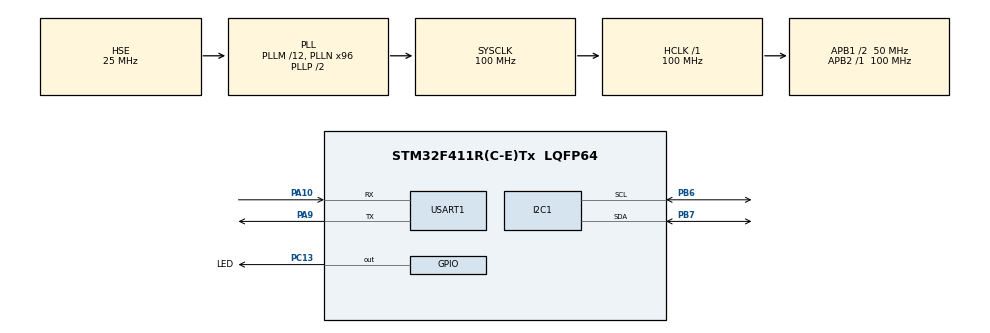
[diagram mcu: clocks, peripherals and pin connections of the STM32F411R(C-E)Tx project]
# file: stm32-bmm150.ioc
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Mcu.Family=STM32F4
RCC.PLLSourceVirtual=RCC_PLLSOURCE_HSE
TIM10.Prescaler=99
RCC.CortexFreq_Value=100000000
PA10.Mode=Asynchronous
PC13-ANTI_TAMP.GPIO_Label=LED
PH1\ -\ OSC_OUT.Mode=HSE-External-Oscillator
TIM11.Prescaler=99
RCC.APB1CLKDivider=RCC_HCLK_DIV2
VP_TIM10_VS_no_output1.Mode=Output Compare1 No Output
RCC.SYSCLKSource=RCC_SYSCLKSOURCE_PLLCLK
ProjectManager.StackSize=0x500
VP_TIM11_VS_ClockSourceINT.Mode=Enable_Timer
PA9.Mode=Asynchronous
PH0\ -\ OSC_IN.Mode=HSE-External-Oscillator
PH0\ -\ OSC_IN.Signal=RCC_OSC_IN
ProjectManager.TargetToolchain=SW4STM32
RCC.HCLKFreq_Value=100000000
RCC.APB2TimFreq_Value=100000000
PA9.Signal=USART1_TX
PB6.Signal=I2C1_SCL
VP_TIM10_VS_ClockSourceINT.Mode=Enable_Timer
PB6.Mode=I2C
RCC.LSE_VALUE=32768
RCC.AHBFreq_Value=100000000
NVIC.TIM1_TRG_COM_TIM11_IRQn=true\:0\:0\:false\:false\:true\:true\:true
RCC.HSE_VALUE=25000000
PH1\ -\ OSC_OUT.Signal=RCC_OSC_OUT
board=custom
PC13-ANTI_TAMP.Signal=GPIO_Output
RCC.VCOOutputFreq_Value=200000000
TIM10.Channel=TIM_CHANNEL_1
TIM11.Period=999
TIM10.Period=65535
RCC.APB2Freq_Value=100000000
PB7.Signal=I2C1_SDA
Mcu.Name=STM32F411R(C-E)Tx
RCC.48MHZClocksFreq_Value=50000000
RCC.SYSCLKFreq_VALUE=100000000
Mcu.Package=LQFP64
VP_TIM11_VS_no_output1.Mode=Output Compare1 No Output
USART1.VirtualMode=VM_ASYNC
PB7.Mode=I2C
PA10.Signal=USART1_RX
ProjectManager.HeapSize=0x500
RCC.HSI_VALUE=16000000
TIM11.AutoReloadPreload=TIM_AUTORELOAD_PRELOAD_ENABLE
NVIC.PriorityGroup=NVIC_PRIORITYGROUP_4
RCC.PLLM=12
RCC.PLLN=96
TIM11.Channel=TIM_CHANNEL_1
RCC.APB1TimFreq_Value=100000000
NVIC.USART1_IRQn=true\:0\:0\:false\:false\:true\:true\:true
RCC.APB1Freq_Value=50000000

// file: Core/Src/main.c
/* USER CODE BEGIN Header */
/**
  ******************************************************************************
  * @file           : main.c
  * @brief          : Main program body
  ******************************************************************************
  * @attention
  *
  * <h2><center>&copy; Copyright (c) 2021 STMicroelectronics.
  * All rights reserved.</center></h2>
  *
  * This software component is licensed by ST under BSD 3-Clause license,
  * the "License"; You may not use this file except in compliance with the
  * License. You may obtain a copy of the License at:
  *                        opensource.org/licenses/BSD-3-Clause
  *
  ******************************************************************************
  */
/* USER CODE END Header */
#include "main.h"
#include "i2c.h"
#include "tim.h"
#include "usart.h"
#include "gpio.h"

/* USER CODE BEGIN Includes */
#include "retarget.h"
#include "bmm150.h"
#include "bmm150_common.h"
#include "bmm150_defs.h"
/* USER CODE END Includes */

void SystemClock_Config(void);
/* USER CODE BEGIN PFP */
/*!         Static Function Declaration                                       */

/*!
 *  @brief This internal API is used to set configurations powermode, odr and interrupt mapping.
 *
 *  @param[in] dev       : Structure instance of bmm150_dev.
 *
 *  @return Status of execution.
 */
static int8_t set_config(struct bmm150_dev *dev);

/*!
 *  @brief This internal API is used to get gyro data.
 *
 *  @param[in] dev       : Structure instance of bmm150_dev.
 *
 *  @return Status of execution.
 */
static int8_t get_data(struct bmm150_dev *dev);

/* USER CODE END PFP */

/* USER CODE BEGIN 0 */

/*!
 *  @brief This internal API is used to set configurations like powermode, odr and interrupt mapping.
 */
static int8_t set_config(struct bmm150_dev *dev) {
    /* Status of api are returned to this variable. */
    int8_t rslt;

    struct bmm150_settings settings;

    /* Set powermode as normal mode */
    settings.pwr_mode = BMM150_POWERMODE_NORMAL;
    rslt = bmm150_set_op_mode(&settings, dev);
    bmm150_error_codes_print_result("bmm150_set_op_mode", rslt);

    if (rslt == BMM150_OK) {
        /* Setting the preset mode as Low power mode
         * i.e. data rate = 10Hz, XY-rep = 1, Z-rep = 2
         */
        settings.preset_mode = BMM150_PRESETMODE_HIGHACCURACY;                  // TODO Change it to the desired preset
        rslt = bmm150_set_presetmode(&settings, dev);
        settings.data_rate = BMM150_DATA_RATE_02HZ;                             // TODO Change it to the desired ODR
        bmm150_set_sensor_settings(BMM150_SEL_DATA_RATE, &settings, dev);
        bmm150_error_codes_print_result("bmm150_set_presetmode", rslt);

        if (rslt == BMM150_OK) {
            /* Map the data interrupt pin */
            settings.int_settings.drdy_pin_en = 0x01;
            rslt = bmm150_set_sensor_settings(BMM150_SEL_DRDY_PIN_EN, &settings, dev);
            bmm150_error_codes_print_result("bmm150_set_sensor_settings", rslt);
        }
    }

    return rslt;
}

/* USER CODE END 0 */

int main(void) {
    /* USER CODE BEGIN 1 */
    char iobuf[64];

    /* USER CODE END 1 */

    /* MCU Configuration--------------------------------------------------------*/

    /* Reset of all peripherals, Initializes the Flash interface and the Systick. */
    HAL_Init();

    /* Configure the system clock */
    SystemClock_Config();

    /* Initialize all configured peripherals */
    MX_GPIO_Init();
    MX_I2C1_Init();
    MX_TIM11_Init();
    MX_USART1_UART_Init();
    MX_TIM10_Init();
    /* USER CODE BEGIN 2 */
    HAL_TIM_Base_Start_IT(&htim11);
    HAL_TIM_Base_Start(&htim10);
    HAL_NVIC_EnableIRQ(USART1_IRQn);
    HAL_UART_MspInit(&huart1);
    RetargetInit(&huart1);
    HAL_I2C_Init(&hi2c1);

    /* Sensor initialization configuration. */
    struct bmm150_dev dev;
    struct bmm150_mag_data mag_data;

    /* Status of api are returned to this variable */
    int8_t rslt;

    rslt = bmm150_interface_selection(&dev);
    bmm150_error_codes_print_result("bmm150_interface_selection", rslt);

    if (rslt == BMM150_OK) {
        rslt = bmm150_init(&dev);
        bmm150_error_codes_print_result("bmm150_init", rslt);

        if (rslt == BMM150_OK) {
            rslt = set_config(&dev);
            bmm150_error_codes_print_result("set_config", rslt);

//            if (rslt == BMM150_OK) {
//                rslt = get_data(&dev);
//                bmm150_error_codes_print_result("get_data", rslt);
//            }
        }
    }

    /* USER CODE END 2 */

    /* Infinite loop */
    /* USER CODE BEGIN WHILE */
#pragma clang diagnostic push
#pragma ide diagnostic ignored "EndlessLoop"
    while (1) {
        /* USER CODE END WHILE */

        /* USER CODE BEGIN 3 */
        if (tick == 0) {
            HAL_GPIO_WritePin(GPIOC, GPIO_PIN_13, GPIO_PIN_RESET);
            bmm150_user_delay_us(100, NULL);
            HAL_GPIO_WritePin(GPIOC, GPIO_PIN_13, GPIO_PIN_SET);
            tick = 199;
        }
//        /* Get the interrupt status */
        bmm150_get_interrupt_status(&dev);
        if (dev.int_status & BMM150_INT_ASSERTED_DRDY) {
            /* Read mag data */
            bmm150_read_mag_data(&mag_data, &dev);
            printf("X/Y/Z %d %d %d uT\n", mag_data.x, mag_data.y, mag_data.z);
        }
    }
#pragma clang diagnostic pop
    /* USER CODE END 3 */
}

void SystemClock_Config(void) {
    RCC_OscInitTypeDef RCC_OscInitStruct = {0};
    RCC_ClkInitTypeDef RCC_ClkInitStruct = {0};

    /** Configure the main internal regulator output voltage
    */
    __HAL_RCC_PWR_CLK_ENABLE();
    __HAL_PWR_VOLTAGESCALING_CONFIG(PWR_REGULATOR_VOLTAGE_SCALE1);
    /** Initializes the RCC Oscillators according to the specified parameters
    * in the RCC_OscInitTypeDef structure.
    */
    RCC_OscInitStruct.OscillatorType = RCC_OSCILLATORTYPE_HSE;
    RCC_OscInitStruct.HSEState = RCC_HSE_ON;
    RCC_OscInitStruct.PLL.PLLState = RCC_PLL_ON;
    RCC_OscInitStruct.PLL.PLLSource = RCC_PLLSOURCE_HSE;
    RCC_OscInitStruct.PLL.PLLM = 12;
    RCC_OscInitStruct.PLL.PLLN = 96;
    RCC_OscInitStruct.PLL.PLLP = RCC_PLLP_DIV2;
    RCC_OscInitStruct.PLL.PLLQ = 4;
    if (HAL_RCC_OscConfig(&RCC_OscInitStruct) != HAL_OK) {
        Error_Handler();
    }
    /** Initializes the CPU, AHB and APB buses clocks
    */
    RCC_ClkInitStruct.ClockType = RCC_CLOCKTYPE_HCLK | RCC_CLOCKTYPE_SYSCLK
                                  | RCC_CLOCKTYPE_PCLK1 | RCC_CLOCKTYPE_PCLK2;
    RCC_ClkInitStruct.SYSCLKSource = RCC_SYSCLKSOURCE_PLLCLK;
    RCC_ClkInitStruct.AHBCLKDivider = RCC_SYSCLK_DIV1;
    RCC_ClkInitStruct.APB1CLKDivider = RCC_HCLK_DIV2;
    RCC_ClkInitStruct.APB2CLKDivider = RCC_HCLK_DIV1;

    if (HAL_RCC_ClockConfig(&RCC_ClkInitStruct, FLASH_LATENCY_3) != HAL_OK) {
        Error_Handler();
    }
}

void Error_Handler(void) {
    __disable_irq();
    while (1) {
    }
}

/************************ (C) COPYRIGHT STMicroelectronics *****END OF FILE****/
